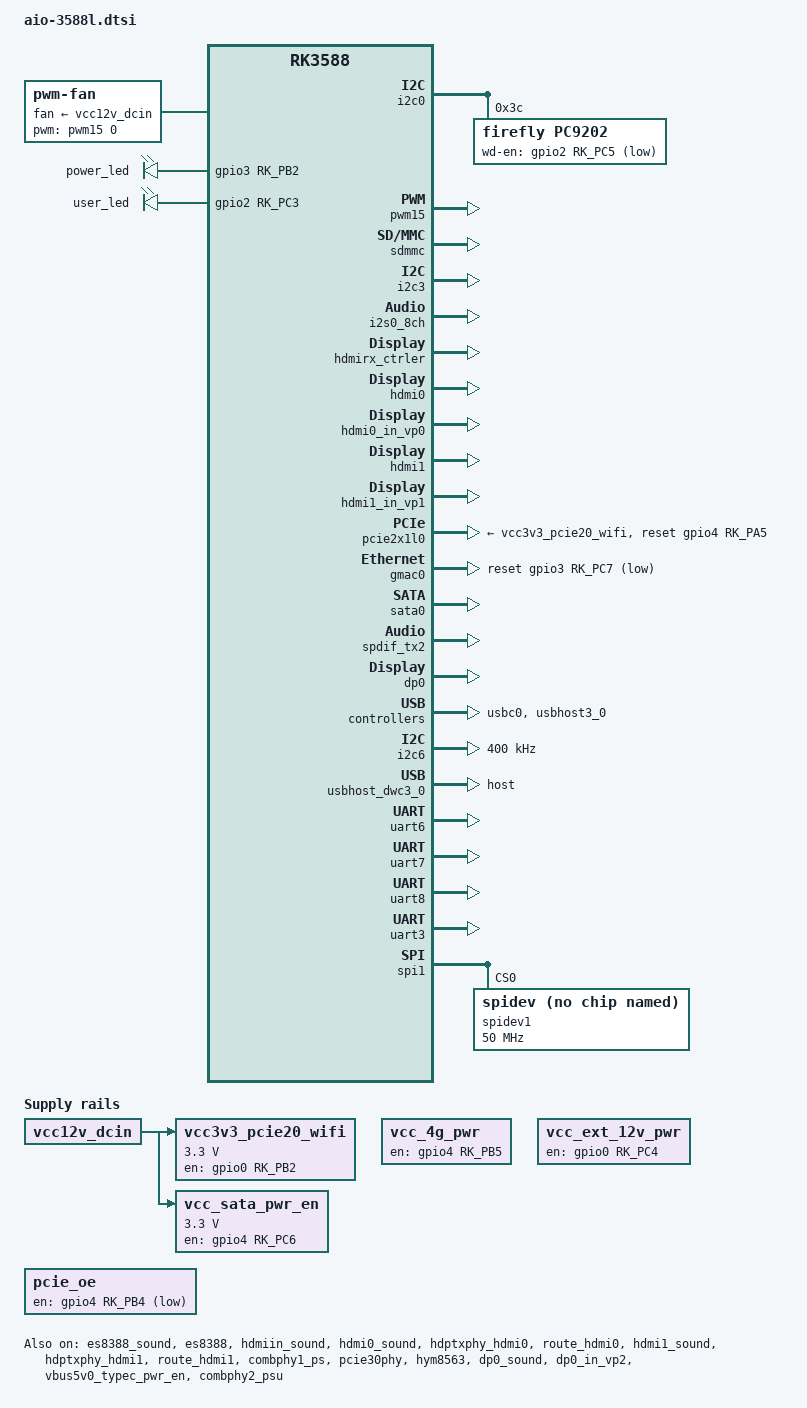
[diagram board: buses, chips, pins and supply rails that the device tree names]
// SPDX-License-Identifier: (GPL-2.0+ OR MIT)
/*
 * Copyright (c) 2021 Rockchip Electronics Co., Ltd.
 *
 */
 
#define rk3588
#include "rk3588-firefly-port.dtsi"
#include "rk3588-diff.dtsi"

#define M2_SATA_OR_PCIE 1 /*1 = SATA , 0 = PCIe */
#define CAN1_OR_UART3 0 /*1 = CAN1 , 0 = UART3 */

 / {
        chosen: chosen {
            bootargs = "earlycon=uart8250,mmio32,0xfeb50000 console=ttyFIQ0 coherent_pool=1m irqchip.gicv3_pseudo_nmi=0";
        };


	fan: pwm-fan {
		compatible = "pwm-fan";
		#cooling-cells = <2>;
		fan-supply = <&vcc12v_dcin>;
		pwms = <&pwm15 0 50000 0>;
	};

	 vcc3v3_pcie20_wifi: vcc3v3-pcie20-wifi {
       compatible = "regulator-fixed";
       regulator-name = "vcc3v3_pcie20_wifi";
       regulator-min-microvolt = <3300000>;
       regulator-max-microvolt = <3300000>;
       enable-active-high;
       gpios = <&gpio0 RK_PB2 GPIO_ACTIVE_HIGH>; /* wifi_power管脚 */
       startup-delay-us = <5000>;
       vin-supply = <&vcc12v_dcin>;
     };	

	vcc_4g_pwr: vcc-4g-pwr {
		compatible = "regulator-fixed";
		regulator-name = "vcc_4g_pwr";
		regulator-boot-on;
		regulator-always-on;
		enable-active-high;
		gpio = <&gpio4 RK_PB5 GPIO_ACTIVE_HIGH>;
		status = "okay";
	};

	vcc_ext_12v_pwr: vcc-ext-12v-pwr {
		compatible = "regulator-fixed";
		regulator-name = "vcc_ext_12v_pwr";
		regulator-always-on;
		enable-active-high;
		gpio = <&gpio0 RK_PC4 GPIO_ACTIVE_HIGH>;
		status = "okay";
	};

	pcie_oe: pcie-oe {
		compatible = "regulator-fixed";
		regulator-name = "pcie_oe";
		enable-active-low;
		regulator-boot-on;
		regulator-always-on;
		gpios = <&gpio4 RK_PB4 GPIO_ACTIVE_LOW>;
	};

};

&i2c0 {
	status = "okay";

    pc9202@3c {
        status = "okay";
        compatible = "firefly,pc9202";
        reg = <0x3c>;
		//pinctrl-names = "default";
		//pinctrl-0 = <&pc9202_en_pin>;
        wd-en-gpio = <&gpio2 RK_PC5 GPIO_ACTIVE_LOW>;
    };
};

/* recovery key*/
&adc_keys{
	keyup-threshold-microvolt = <1800000>;
	status="okay";
};

/* led */
&power_led{
	gpios = <&gpio3 RK_PB2 GPIO_ACTIVE_HIGH>;
	pinctrl-names = "default";
	pinctrl-0 = <&led_power>;
};

&user_led{
	gpios = <&gpio2 RK_PC3 GPIO_ACTIVE_HIGH>;
};

&pwm15 {
	pinctrl-0 = <&pwm15m2_pins>;
	status = "okay";
};

/* tf-card */
&sdmmc {
	status = "okay";
};

&vcc_sdcard_pwr_en{
	gpio = <&gpio4 RK_PB0 GPIO_ACTIVE_HIGH>; 
	status = "okay";
};

/* es8323 audio codec */
&i2c3 {
	status = "okay";
};

&es8388_sound{
	firefly,not-use-dapm;
	/delete-property/ spk-con-gpio;
	hp-det-gpio = <&gpio1 RK_PC4 GPIO_ACTIVE_HIGH>;
	hp-con-gpio = <&gpio4 RK_PA7 GPIO_ACTIVE_HIGH>;
	io-channels = <&saradc 3>;
	linein-type = <6>;
	status = "okay";
};

&es8388{
	status = "okay";
};

&i2s0_8ch{
	status = "okay";
};

/* hdmi rx */
&hdmiin_sound{
	status = "okay";
};

&hdmirx_ctrler {
	status = "okay";
	hpd-trigger-level = <1>;
	hdmirx-det-gpios = <&gpio1 RK_PD5 GPIO_ACTIVE_LOW>;
};

/* hdmi0 */
&hdmi0 {
	enable-gpios = <&gpio4 RK_PB1 GPIO_ACTIVE_HIGH>;
	status = "okay";
};

&hdmi0_in_vp0 {
	status = "okay";
};

&hdmi0_sound {
	status = "okay";
};

&hdptxphy_hdmi0 {
	status = "okay";
};

&route_hdmi0{
	status = "okay";	
	connect = <&vp0_out_hdmi0>;
};

/* hdmi1 */
&hdmi1 {
	enable-gpios = <&gpio3 RK_PD0 GPIO_ACTIVE_HIGH>;
	status = "okay";
};

&hdmi1_sound {
	status = "okay";
};

&hdmi1_in_vp1 {
        status = "okay";
};

&hdptxphy_hdmi1 {
	status = "okay";
};

&route_hdmi1{
	status = "okay";
	connect = <&vp1_out_hdmi1>;
};

/* hdmi0&1 clk */
&display_subsystem {
       clocks = <&hdptxphy_hdmi0>, <&hdptxphy_hdmi1>;
       clock-names = "hdmi0_phy_pll", "hdmi1_phy_pll";
};

&hdptxphy_hdmi0 {
       status = "okay";
};

&hdptxphy_hdmi1 {
       status = "okay";
};

/* wifi bt*/
&combphy1_ps {
        status = "okay";
};

//pcie@fe170000
&pcie2x1l0{
        reset-gpios = <&gpio4 RK_PA5 GPIO_ACTIVE_HIGH>;
		vpcie3v3-supply = <&vcc3v3_pcie20_wifi>;
        rockchip,skip-scan-in-resume;
        rockchip,perst-inactive-ms = <500>;
        status = "okay";
};

&wireless_wlan{
        wifi_chip_type = "rtl8822ce";
	/delete-property/ WIFI,poweren_gpio;
        status = "disabled";
};

&wireless_bluetooth{
	status = "disabled";
};

/* gamc0 */
&gmac0 {
	snps,reset-gpio = <&gpio3 RK_PC7 GPIO_ACTIVE_LOW>;
	tx_delay = <0x39>;
	status = "okay";
};

/* pcie3.0 x 4 slot */
&pcie30phy {
	rockchip,pcie30-phymode = <PHY_MODE_PCIE_AGGREGATION>;
	status = "okay";
};

//pcie@fe150000
&pcie3x4 {
	reset-gpios = <&gpio4 RK_PB6 GPIO_ACTIVE_HIGH>;
	vpcie3v3-supply = <&vcc3v3_pcie30>;
	status = "disabled";
};

&vcc3v3_pcie30{
	gpios = <&gpio1 RK_PB3 GPIO_ACTIVE_HIGH>;
	startup-delay-us = <5000>;
	status = "disabled";
};

/* sata pm */
&combphy0_ps {
	status = "disabled";
};

#if M2_SATA_OR_PCIE
&sata0 {
	status = "okay";
};
#else
//pcie@fe190000
&pcie2x1l2 {
	reset-gpios = <&gpio4 RK_PA2 GPIO_ACTIVE_HIGH>;
	vpcie3v3-supply = <&vcc_sata_pwr_en>;
	status = "okay";
};
#endif

&vcc_sata_pwr_en{
	status = "okay";
	gpio = <&gpio4 RK_PC6 GPIO_ACTIVE_HIGH>; 
	regulator-min-microvolt = <3300000>;
	regulator-max-microvolt = <3300000>;
	regulator-always-on;
	enable-active-high;
	startup-delay-us = <5000>;
	vin-supply = <&vcc12v_dcin>;
};

/* rtc */
&hym8563{
	interrupt-parent = <&gpio0>;
	interrupts = <RK_PB0 IRQ_TYPE_LEVEL_LOW>;
	status = "okay";
};

/* display port0 */
&spdif_tx2{
	status = "okay";
};

&dp0_sound{
	status = "okay";
};

&dp0 {
	status = "okay";
};

&dp0_in_vp2 {
	status = "okay";
};

/* Type-C0 */
&usbc0{
	status = "okay";
	interrupt-parent = <&gpio0>;
	interrupts = <RK_PD3 IRQ_TYPE_LEVEL_LOW>;
};

&vbus5v0_typec_pwr_en{
	status = "okay";
	gpio = <&gpio4 RK_PA3 GPIO_ACTIVE_HIGH>; 
};

&i2c6 {
	clock-frequency = <400000>; // For others Display Port Screen
	status = "okay";
};

&usbdp_phy0 {
	sbu1-dc-gpios = <&gpio4 RK_PB2 GPIO_ACTIVE_HIGH>;
	sbu2-dc-gpios = <&gpio4 RK_PB3 GPIO_ACTIVE_HIGH>;
};

/*Type-A USB 3.1*/
&usbhost3_0 {
    status = "okay";
};

&usbhost_dwc3_0 {
    dr_mode = "host";
    status = "okay";
};

&combphy2_psu {
    status = "okay"; // USB3.1/SATA/PCIe Combo PHY
};

&u2phy2_host { 
	phy-supply = <&vcc5v0_host3>; 
}; 

&u2phy3_host {
	phy-supply = <&vcc5v0_host3>;
};

/* phy-supply for Type-C1 and Type-A USB 3.1 */
&vcc5v0_host3{
	gpio = <&gpio3 RK_PA6 GPIO_ACTIVE_HIGH>;
	status = "okay";
};

/* usb2.0 hub power */
&vcc5v0_host{
	gpio = <&gpio0 RK_PA0 GPIO_ACTIVE_HIGH>;
	vin-supply = <&vcc5v0_usb>;
	status = "okay";
};

//ext gpio
&uart6 {
	pinctrl-names = "default";
	pinctrl-0 = <&uart6m1_xfer &uart6m1_ctsn &uart6m1_rtsn>;
	status = "okay";
};

&uart7 {
	pinctrl-names = "default";
	pinctrl-0 = <&uart7m1_xfer>;
	status = "okay";
};

&uart8 {
	pinctrl-names = "default";
	pinctrl-0 = <&uart8m1_xfer>;
	status = "okay";
};

#if CAN1_OR_UART3
&can1 {
	status = "okay";
	assigned-clocks = <&cru CLK_CAN1>;
	assigned-clock-rates = <200000000>;
	pinctrl-names = "default";
	pinctrl-0 = <&can1m0_pins>;
};
#else
&uart3 {
	pinctrl-names = "default";
	pinctrl-0 = <&uart3m1_xfer>;
	status = "okay";
};
#endif

&spi1 {
	status = "okay";
	pinctrl-0 = <&spi1m2_cs0 &spi1m2_pins>;
	num-cs = <1>;
	max-freq = <50000000>;
    
    spidev1: spidev@00{
        compatible = "rockchip,spidev";
        status = "okay";
        reg = <0x0>;
        spi-max-frequency = <50000000>;
    };
};

/* pinctrl */
&pinctrl {

	leds {
		led_power: led-power {
			rockchip,pins = <3 RK_PB2 RK_FUNC_GPIO &pcfg_pull_none>;
		};
 	};

	hdmirx {
		hdmirx_det: hdmirx-det {
			rockchip,pins = <1 RK_PD5 RK_FUNC_GPIO &pcfg_pull_up>;
		};
	};

	headphone {
		hp_det: hp-det {
			rockchip,pins = <1 RK_PC4 RK_FUNC_GPIO &pcfg_pull_none>;
		};
	};

	hym8563 {
		hym8563_int: hym8563-int {
			rockchip,pins = <0 RK_PB0 RK_FUNC_GPIO &pcfg_pull_up>;
		};
	};

	usb-typec { 
		usbc0_int: usbc0-int { 
			rockchip,pins = <0 RK_PD3 RK_FUNC_GPIO &pcfg_pull_up>; 
		}; 
	};

/* No practical significance, used to prevent compilation errors */
	wireless-bluetooth {
		uart6_gpios: uart6-gpios {
			rockchip,pins = <1 RK_PA2 RK_FUNC_GPIO &pcfg_pull_none>;
		};

		bt_reset_gpio: bt-reset-gpio {
			rockchip,pins = <0 RK_PC6 RK_FUNC_GPIO &pcfg_pull_none>;
		};

		bt_wake_gpio: bt-wake-gpio {
			rockchip,pins = <0 RK_PC5 RK_FUNC_GPIO &pcfg_pull_none>;
		};

		bt_irq_gpio: bt-irq-gpio {
			rockchip,pins = <0 RK_PA0 RK_FUNC_GPIO &pcfg_pull_down>;
		};
	};

	wireless-wlan {
		wifi_host_wake_irq: wifi-host-wake-irq {
			rockchip,pins = <0 RK_PC4 RK_FUNC_GPIO &pcfg_pull_none>;
		};

		wifi_poweren_gpio: wifi-poweren-gpio {
			rockchip,pins = <0 RK_PC4 RK_FUNC_GPIO &pcfg_pull_up>;
		};
	};
};

